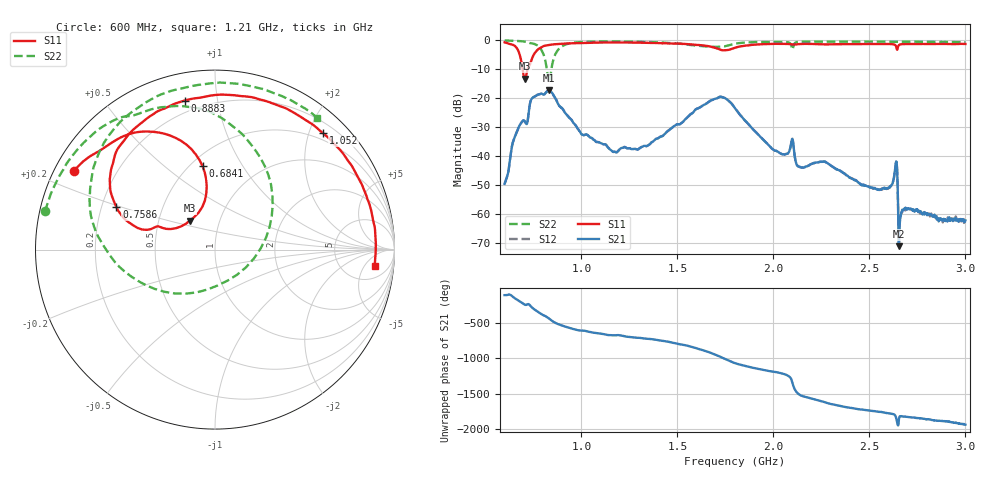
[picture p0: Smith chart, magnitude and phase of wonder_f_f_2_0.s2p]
#  HZ  S  RI  R  50.00
! Rohde & Schwarz ZVB8 2Ports - Version 2.81 - 1145.1010k08 SN: 100113
! Date: 2016-05-12 03:16:39
! Measurements: S11 S21 S12 S22
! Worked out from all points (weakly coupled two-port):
!   1000 points, 600 MHz to 3 GHz, reference 50 ohm
!   highest |S21| = -17.36 dB at 830.6 MHz (marker M1); lowest = -71.0 dB at 2.654 GHz (marker M2)
!   lowest |S11| = -13.4 dB at 705.7 MHz (marker M3), VSWR 1.54, Z = 36 + j12.2 ohm
!   |S11| at or under -10 dB: 693.7 MHz to 720.4 MHz (26.68 MHz wide, 3.77 % of centre)
!   |S22| runs from -14.6 to -0.3 dB; largest |S21 - S12| = 0.0013
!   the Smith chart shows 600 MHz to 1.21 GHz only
!   S11 on the Smith chart (normalised r, x): 600 MHz: 0.06, +0.26; 684.1 MHz: 0.57, +0.68; 758.6 MHz: 0.26, +0.19; 888.3 MHz: 0.14, +0.81; 1.052 GHz: 0.38, +2.24; 1.21 GHz: 10, -9
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6e8  -0.7866 0.4387  -0.00104 -0.00316  -0.00106 -0.00312  -0.9464 0.2127
6.840841e8  -0.0691 0.4653  -0.0325 0.0159  -0.0326 0.016  -0.7322 0.5952
7.057057e8  -0.1392 0.1617  -0.0174 0.0349  -0.0169 0.0351  -0.6246 0.6857
7.585586e8  -0.5491 0.2355  0.0778 0.0728  0.0776 0.0726  -0.2464 0.798
8.066066e8  -0.5346 0.5726  0.0925 -0.0679  0.0923 -0.0683  0.2974 0.4164
8.306306e8  -0.4362 0.6849  0.0282 -0.1326  0.0274 -0.1328  0.1217 -0.141
8.498498e8  -0.3536 0.7481  -0.0532 -0.1055  -0.0535 -0.1055  -0.3361 -0.2189
8.882883e8  -0.1693 0.8306  -0.0685 -0.0185  -0.0685 -0.0184  -0.6952 0.2151
1.001201e9  0.3903 0.7893  -0.00832 0.0219  -0.00838 0.0219  -0.3196 0.8564
1.051652e9  0.6011 0.6488  0.0007 0.0206  0.000724 0.0207  -0.0843 0.9185
1.21021e9  0.8892 -0.0908  0.0108 0.00846  0.0108 0.00851  0.5691 0.7353
1.4e9  0.3439 -0.8049  0.0185 -0.00835  0.0185 -0.00839  0.8988 0.0653
1.616216e9  -0.5242 -0.6135  -0.0607 -0.0308  -0.0608 -0.0309  0.5624 -0.5385
1.801201e9  -0.7015 -0.1958  0.0645 0.0112  0.0646 0.0112  0.2875 -0.8034
1.976577e9  -0.7228 0.4403  -0.00271 -0.015  -0.00273 -0.015  -0.2632 -0.8746
2.2e9  0.0219 0.8448  -0.00473 -0.00557  -0.00475 -0.00557  -0.7324 -0.5663
2.423423e9  0.7543 0.3709  4.88e-05 0.00381  1.33e-05 0.00388  -0.9252 -0.073
2.601201e9  0.7471 -0.3891  0.00264 0.00108  0.00262 0.00101  -0.8659 0.3215
2.634835e9  0.6131 -0.5246  0.00617 -0.00125  0.00612 -0.00128  -0.8362 0.3855
2.654054e9  0.652 -0.4768  0.000167 -0.000227  0.000215 -0.000245  -0.8201 0.4211
2.803003e9  0.122 -0.8341  0.000481 -0.000906  0.000475 -0.000942  -0.6086 0.6877
3e9  -0.5542 -0.6374  -0.000584 -0.000516  -0.000575 -0.000488  -0.1833 0.8877
